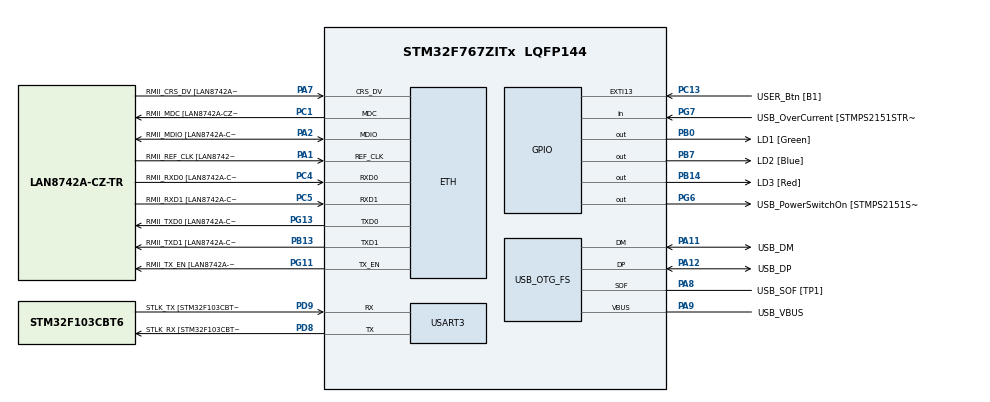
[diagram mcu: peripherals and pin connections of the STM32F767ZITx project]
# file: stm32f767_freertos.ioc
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ETH.MediaInterface=HAL_ETH_RMII_MODE
ETH.PHY_Name=LAN8742A_PHY_ADDRESS
ETH.PHY_Value=0
ETH.PhyAddress=0
Mcu.Family=STM32F7
Mcu.Name=STM32F767ZITx
Mcu.Package=LQFP144
NVIC.PriorityGroup=NVIC_PRIORITYGROUP_4
NVIC.TIM7_IRQn=true\:15\:0\:false\:false\:true\:false\:true\:true
NVIC.TimeBase=TIM7_IRQn
NVIC.TimeBaseIP=TIM7
PA1.GPIO_Label=RMII_REF_CLK [LAN8742A-CZ-TR_REFCLK0]
PA1.Mode=RMII
PA1.Signal=ETH_REF_CLK
PA10.GPIO_Label=USB_ID
PA10.Signal=USB_OTG_FS_ID
PA11.GPIO_Label=USB_DM
PA11.Mode=Device_Only
PA11.Signal=USB_OTG_FS_DM
PA12.GPIO_Label=USB_DP
PA12.Mode=Device_Only
PA12.Signal=USB_OTG_FS_DP
PA13.GPIO_Label=TMS
PA13.Mode=Serial_Wire
PA13.Signal=SYS_JTMS-SWDIO
PA14.GPIO_Label=TCK
PA14.Mode=Serial_Wire
PA14.Signal=SYS_JTCK-SWCLK
PA2.GPIO_Label=RMII_MDIO [LAN8742A-CZ-TR_MDIO]
PA2.Mode=RMII
PA2.Signal=ETH_MDIO
PA7.GPIO_Label=RMII_CRS_DV [LAN8742A-CZ-TR_CRS_DV]
PA7.Mode=RMII
PA7.Signal=ETH_CRS_DV
PA8.GPIO_Label=USB_SOF [TP1]
PA8.Mode=Activate_SOF_FS
PA8.Signal=USB_OTG_FS_SOF
PA9.GPIO_Label=USB_VBUS
PA9.Mode=Activate_VBUS
PA9.Signal=USB_OTG_FS_VBUS
PB0.GPIO_Label=LD1 [Green]
PB0.Signal=GPIO_Output
PB13.GPIO_Label=RMII_TXD1 [LAN8742A-CZ-TR_TXD1]
PB13.Mode=RMII
PB13.Signal=ETH_TXD1
PB14.GPIO_Label=LD3 [Red]
PB14.Signal=GPIO_Output
PB3.GPIO_Label=SWO
PB3.Signal=SYS_JTDO-SWO
PB7.GPIO_Label=LD2 [Blue]
PB7.Signal=GPIO_Output
PC1.GPIO_Label=RMII_MDC [LAN8742A-CZ-TR_MDC]
PC1.Mode=RMII
PC1.Signal=ETH_MDC
PC13.GPIO_Label=USER_Btn [B1]
PC13.Signal=GPXTI13
PC14/OSC32_IN.Mode=LSE-External-Oscillator
PC14/OSC32_IN.Signal=RCC_OSC32_IN
PC15/OSC32_OUT.Mode=LSE-External-Oscillator
PC15/OSC32_OUT.Signal=RCC_OSC32_OUT
PC4.GPIO_Label=RMII_RXD0 [LAN8742A-CZ-TR_RXD0]
PC4.Mode=RMII
PC4.Signal=ETH_RXD0
PC5.GPIO_Label=RMII_RXD1 [LAN8742A-CZ-TR_RXD1]
PC5.Mode=RMII
PC5.Signal=ETH_RXD1
PD5.Signal=USART2_TX
PD6.Signal=USART2_RX
PD8.GPIO_Label=STLK_RX [STM32F103CBT6_PA3]
PD8.Mode=Asynchronous
PD8.Signal=USART3_TX
PD9.GPIO_Label=STLK_TX [STM32F103CBT6_PA2]
PD9.Mode=Asynchronous
PD9.Signal=USART3_RX
PG11.GPIO_Label=RMII_TX_EN [LAN8742A-CZ-TR_TXEN]
PG11.Mode=RMII
PG11.Signal=ETH_TX_EN
PG13.GPIO_Label=RMII_TXD0 [LAN8742A-CZ-TR_TXD0]
PG13.Mode=RMII
PG13.Signal=ETH_TXD0
PG6.GPIO_Label=USB_PowerSwitchOn [STMPS2151STR_EN]
PG6.Signal=GPIO_Output
PG7.GPIO_Label=USB_OverCurrent [STMPS2151STR_FAULT]
PG7.Signal=GPIO_Input
PH0/OSC_IN.GPIO_Label=MCO [STM32F103CBT6_PA8]
PH0/OSC_IN.Mode=HSE-External-Clock-Source
PH0/OSC_IN.Signal=RCC_OSC_IN
PH1/OSC_OUT.Mode=HSE-External-Clock-Source
PH1/OSC_OUT.Signal=RCC_OSC_OUT
ProjectManager.HeapSize=0x200
ProjectManager.StackSize=0x400
ProjectManager.TargetToolchain=STM32CubeIDE
RCC.48MHZClocksFreq_Value=24000000
RCC.AHBFreq_Value=216000000
RCC.APB1CLKDivider=RCC_HCLK_DIV4
RCC.APB1Freq_Value=54000000
RCC.APB1TimFreq_Value=108000000
RCC.APB2CLKDivider=RCC_HCLK_DIV2
RCC.APB2Freq_Value=108000000
RCC.APB2TimFreq_Value=216000000
RCC.CortexFreq_Value=216000000
RCC.HCLKFreq_Value=216000000
RCC.HSE_VALUE=8000000
RCC.HSI_VALUE=16000000
RCC.PLLI2SN=432
RCC.PLLMUL=RCC_PLL_MUL9
RCC.PLLN=432
RCC.PLLQ=9
RCC.PLLSAIN=432
RCC.PLLSourceVirtualString=RCC_PLLSOURCE_HSI
RCC.PRESCALERUSB=RCC_USBCLKSOURCE_PLL_DIV1_5
RCC.SYSCLKFreq_VALUE=216000000
RCC.SYSCLKSource=RCC_SYSCLKSOURCE_PLLCLK
RCC.SYSCLKSourceVirtual=RCC_SYSCLKSOURCE_PLLCLK
RCC.USBFreq_Value=48000000
RCC.VCOOutputFreq_Value=432000000
USART3.VirtualMode-Asynchronous=VM_ASYNC
USB_OTG_FS.VirtualMode=Device_Only
VP_SYS_VS_tim7.Mode=TIM7
board=NUCLEO-F767ZI

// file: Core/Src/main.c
/* USER CODE BEGIN Header */
/**
  ******************************************************************************
  * @file           : main.c
  * @brief          : Main program body
  ******************************************************************************
  * @attention
  *
  * Copyright (c) 2025 STMicroelectronics.
  * All rights reserved.
  *
  * This software is licensed under terms that can be found in the LICENSE file
  * in the root directory of this software component.
  * If no LICENSE file comes with this software, it is provided AS-IS.
  *
  ******************************************************************************
  */
/* USER CODE END Header */
#include "main.h"
#include "string.h"

/* USER CODE BEGIN Includes */
/* Kernel includes. */
#include "FreeRTOS.h"
#include "task.h"
#include "button.h"

#include "lwip/tcpip.h"
#include "lwip/netif.h"
#include "ethernetif.h"
#include "app_ethernet.h"
#include "httpserver-netconn.h"
#include "lwiperf_example.h"

#include "sdio_sd.h"
#include "tm_stm32f7_fatfs.h"

#include "shell_port.h"
#include "usart.h"
#include "usb_app.h"
//#include "music_app.h"

/* USER CODE END Includes */

/* USER CODE BEGIN PD */
#define USE_TINYUSB
/* USER CODE END PD */

struct netif gnetif;
/* USER CODE END PV */

void SystemClock_Config(void);
static void MX_GPIO_Init(void);
//static void MX_ETH_Init(void);
static void MX_USART3_UART_Init(void);
/* USER CODE BEGIN PFP */
void MX_LED_Init(void);
//void LED_On(void);
//void LED_Reverse(void);
//void LED_Off(void);

void StartTransfers(void);
static void MPU_Config(void);
static void CPU_CACHE_Enable(void);

void lwipinitTask( void *pvParameters );
static void netif_config(void);
/* USER CODE END PFP */

int main(void)
{
  /* USER CODE BEGIN 1 */

  /* Configure the MPU attributes as Device memory for ETH DMA descriptors */
  MPU_Config();
  /* Enable the CPU Cache */
  CPU_CACHE_Enable();

  /* USER CODE END 1 */

  /* MCU Configuration--------------------------------------------------------*/

  /* Reset of all peripherals, Initializes the Flash interface and the Systick. */
  HAL_Init();

  /* Configure the system clock */
  SystemClock_Config();

  /* Initialize all configured peripherals */
  MX_GPIO_Init();
  MX_LED_Init();
  //MX_ETH_Init();
  MX_USART3_UART_Init();
  //MX_USB_OTG_FS_PCD_Init();
  /* USER CODE BEGIN 2 */
  //SD_Init();
  sd_card_fatfs_test();

#ifdef USE_LETTER_SHELL
  userShellInit();
#endif
#ifdef USE_TINYUSB
  usb_main();
#endif
  /* Start the task that executes on the M7 core. */
  xTaskCreate(prvButtonTask, 			/* Function that implements the task. */
              "ButtonTask", 			/* Task name, for debugging only. */
			  BUTTON_STK_SIZE,          /* Size of stack (in words) to allocate for this task. */
              NULL, 					/* Task parameter, not used in this case. */
			  BUTTON_TASK_PRIO, 		/* Task priority. */
              NULL );		            /* Task handle, used to unblock task from interrupt. */
  xTaskCreate(prvLedBreathTask, 		/* Function that implements the task. */
              "LedBreathTask", 			/* Task name, for debugging only. */
			  BUTTON_STK_SIZE,          /* Size of stack (in words) to allocate for this task. */
              NULL, 					/* Task parameter, not used in this case. */
			  BUTTON_TASK_PRIO, 		/* Task priority. */
              NULL );		            /* Task handle, used to unblock task from interrupt. */
#if 1
  xTaskCreate(lwipinitTask, 			/* Function that implements the task. */
              "lwipinitTask", 			/* Task name, for debugging only. */
			  configMINIMAL_STACK_SIZE * 5,    /* Size of stack (in words) to allocate for this task. */
              NULL, 					/* Task parameter, not used in this case. */
			  0, 	                    /* Task priority. */
			  NULL );		            /* Task handle, used to unblock task from interrupt. */
#endif
#ifndef USE_TINYUSB
  xTaskCreate(prvUSBappTask, 			/* Function that implements the task. */
              "USBappTask", 			/* Task name, for debugging only. */
			  configMINIMAL_STACK_SIZE * 5,    /* Size of stack (in words) to allocate for this task. */
              NULL, 					/* Task parameter, not used in this case. */
			  0, 		                /* Task priority. */
              NULL );		            /* Task handle, used to unblock task from interrupt. */
#endif
#if 0
  xTaskCreate(prvMusicappTask, 			/* Function that implements the task. */
              "MusicappTask", 			/* Task name, for debugging only. */
			  configMINIMAL_STACK_SIZE * 5,    /* Size of stack (in words) to allocate for this task. */
              NULL, 					/* Task parameter, not used in this case. */
			  0, 		                /* Task priority. */
              NULL );		            /* Task handle, used to unblock task from interrupt. */
#endif
  /* Start the scheduler. */
  vTaskStartScheduler();
  /* USER CODE END 2 */

  /* Infinite loop */
  while (1)
  {

  }
}

void SystemClock_Config(void)
{
  LL_FLASH_SetLatency(LL_FLASH_LATENCY_7); //flash访问延迟 周期比
  while(LL_FLASH_GetLatency()!= LL_FLASH_LATENCY_7)
  {
  }
  LL_PWR_SetRegulVoltageScaling(LL_PWR_REGU_VOLTAGE_SCALE1); //内部主调压器输出级别，使最大主频下功耗与性能平衡，当前为默认值(复位值)
  LL_PWR_EnableOverDriveMode();
  LL_RCC_HSI_SetCalibTrimming(16);
  LL_RCC_HSI_Enable();

   /* Wait till HSI is ready */
  while(LL_RCC_HSI_IsReady() != 1)
  {

  }
  LL_RCC_PLL_ConfigDomain_SYS(LL_RCC_PLLSOURCE_HSI, LL_RCC_PLLM_DIV_8, 216, LL_RCC_PLLP_DIV_2);
  LL_RCC_PLL_ConfigDomain_48M(LL_RCC_PLLSOURCE_HSI, LL_RCC_PLLM_DIV_8, 216, LL_RCC_PLLQ_DIV_9);
  LL_RCC_PLL_Enable();

   /* Wait till PLL is ready */
  while(LL_RCC_PLL_IsReady() != 1)
  {

  }
  while (LL_PWR_IsActiveFlag_VOS() == 0)
  {
  }
  LL_RCC_SetAHBPrescaler(LL_RCC_SYSCLK_DIV_1);
  LL_RCC_SetAPB1Prescaler(LL_RCC_APB1_DIV_4);
  LL_RCC_SetAPB2Prescaler(LL_RCC_APB2_DIV_2);
  LL_RCC_SetSysClkSource(LL_RCC_SYS_CLKSOURCE_PLL);

   /* Wait till System clock is ready */
  while(LL_RCC_GetSysClkSource() != LL_RCC_SYS_CLKSOURCE_STATUS_PLL)
  {

  }
  LL_SetSystemCoreClock(216000000);

   /* Update the time base */
  if (HAL_InitTick (TICK_INT_PRIORITY) != HAL_OK)
  {
    Error_Handler();
  }

   /* Set Timers Clock Prescalers */
  LL_RCC_SetTIMPrescaler(LL_RCC_TIM_PRESCALER_TWICE);
}

#if 0
static void MX_ETH_Init(void)
{

   static uint8_t MACAddr[6];

  heth.Instance = ETH;
  MACAddr[0] = 0x00;
  MACAddr[1] = 0x80;
  MACAddr[2] = 0xE1;
  MACAddr[3] = 0x00;
  MACAddr[4] = 0x00;
  MACAddr[5] = 0x00;
  heth.Init.MACAddr = &MACAddr[0];
  heth.Init.MediaInterface = HAL_ETH_RMII_MODE;
  heth.Init.TxDesc = DMATxDscrTab;
  heth.Init.RxDesc = DMARxDscrTab;
  heth.Init.RxBuffLen = 1524;

  if (HAL_ETH_Init(&heth) != HAL_OK)
  {
    Error_Handler();
  }

  memset(&TxConfig, 0 , sizeof(ETH_TxPacketConfig));
  TxConfig.Attributes = ETH_TX_PACKETS_FEATURES_CSUM | ETH_TX_PACKETS_FEATURES_CRCPAD;
  TxConfig.ChecksumCtrl = ETH_CHECKSUM_IPHDR_PAYLOAD_INSERT_PHDR_CALC;
  TxConfig.CRCPadCtrl = ETH_CRC_PAD_INSERT;
}
#endif
static void MX_USART3_UART_Init(void)
{

  LL_USART_InitTypeDef USART_InitStruct = {0};

  LL_GPIO_InitTypeDef GPIO_InitStruct = {0};

  LL_RCC_SetUSARTClockSource(LL_RCC_USART3_CLKSOURCE_PCLK1);

  /* Peripheral clock enable */
  LL_APB1_GRP1_EnableClock(LL_APB1_GRP1_PERIPH_USART3);

  LL_AHB1_GRP1_EnableClock(LL_AHB1_GRP1_PERIPH_GPIOD);
  /**USART3 GPIO Configuration
  PD8   ------> USART3_TX
  PD9   ------> USART3_RX
  */
  GPIO_InitStruct.Pin = STLK_RX_Pin;
  GPIO_InitStruct.Mode = LL_GPIO_MODE_ALTERNATE;
  GPIO_InitStruct.Speed = LL_GPIO_SPEED_FREQ_VERY_HIGH;
  GPIO_InitStruct.OutputType = LL_GPIO_OUTPUT_PUSHPULL;
  GPIO_InitStruct.Pull = LL_GPIO_PULL_NO;
  GPIO_InitStruct.Alternate = LL_GPIO_AF_7;
  LL_GPIO_Init(STLK_RX_GPIO_Port, &GPIO_InitStruct);

  GPIO_InitStruct.Pin = STLK_TX_Pin;
  GPIO_InitStruct.Mode = LL_GPIO_MODE_ALTERNATE;
  GPIO_InitStruct.Speed = LL_GPIO_SPEED_FREQ_VERY_HIGH;
  GPIO_InitStruct.OutputType = LL_GPIO_OUTPUT_PUSHPULL;
  GPIO_InitStruct.Pull = LL_GPIO_PULL_NO;
  GPIO_InitStruct.Alternate = LL_GPIO_AF_7;
  LL_GPIO_Init(STLK_TX_GPIO_Port, &GPIO_InitStruct);

  USART_InitStruct.BaudRate = 115200;
  USART_InitStruct.DataWidth = LL_USART_DATAWIDTH_8B;
  USART_InitStruct.StopBits = LL_USART_STOPBITS_1;
  USART_InitStruct.Parity = LL_USART_PARITY_NONE;
  USART_InitStruct.TransferDirection = LL_USART_DIRECTION_TX_RX;
  USART_InitStruct.HardwareFlowControl = LL_USART_HWCONTROL_NONE;
  USART_InitStruct.OverSampling = LL_USART_OVERSAMPLING_16;
  LL_USART_Init(USART3, &USART_InitStruct);
  LL_USART_ConfigAsyncMode(USART3);
  LL_USART_Enable(USART3);

}

static void MX_GPIO_Init(void)
{
  LL_EXTI_InitTypeDef EXTI_InitStruct = {0};
  LL_GPIO_InitTypeDef GPIO_InitStruct = {0};

  /* GPIO Ports Clock Enable */
  LL_AHB1_GRP1_EnableClock(LL_AHB1_GRP1_PERIPH_GPIOC);
  LL_AHB1_GRP1_EnableClock(LL_AHB1_GRP1_PERIPH_GPIOH);
  LL_AHB1_GRP1_EnableClock(LL_AHB1_GRP1_PERIPH_GPIOA);
  LL_AHB1_GRP1_EnableClock(LL_AHB1_GRP1_PERIPH_GPIOB);
  LL_AHB1_GRP1_EnableClock(LL_AHB1_GRP1_PERIPH_GPIOD);
  LL_AHB1_GRP1_EnableClock(LL_AHB1_GRP1_PERIPH_GPIOG);

  /**/
  LL_GPIO_ResetOutputPin(LD1_GPIO_Port, LD1_Pin);

  /**/
  LL_GPIO_ResetOutputPin(LD3_GPIO_Port, LD3_Pin);

  /**/
  LL_GPIO_ResetOutputPin(USB_PowerSwitchOn_GPIO_Port, USB_PowerSwitchOn_Pin);

  /**/
  LL_GPIO_ResetOutputPin(LD2_GPIO_Port, LD2_Pin);

  /**/
  LL_SYSCFG_SetEXTISource(LL_SYSCFG_EXTI_PORTC, LL_SYSCFG_EXTI_LINE13);

  /**/
  EXTI_InitStruct.Line_0_31 = LL_EXTI_LINE_13;
  EXTI_InitStruct.LineCommand = ENABLE;
  EXTI_InitStruct.Mode = LL_EXTI_MODE_IT;
  EXTI_InitStruct.Trigger = LL_EXTI_TRIGGER_RISING;
  LL_EXTI_Init(&EXTI_InitStruct);

  /**/
  LL_GPIO_SetPinPull(USER_Btn_GPIO_Port, USER_Btn_Pin, LL_GPIO_PULL_NO);

  /**/
  LL_GPIO_SetPinMode(USER_Btn_GPIO_Port, USER_Btn_Pin, LL_GPIO_MODE_INPUT);

  /**/
  GPIO_InitStruct.Pin = LD1_Pin;
  GPIO_InitStruct.Mode = LL_GPIO_MODE_OUTPUT;
  GPIO_InitStruct.Speed = LL_GPIO_SPEED_FREQ_LOW;
  GPIO_InitStruct.OutputType = LL_GPIO_OUTPUT_PUSHPULL;
  GPIO_InitStruct.Pull = LL_GPIO_PULL_NO;
  LL_GPIO_Init(LD1_GPIO_Port, &GPIO_InitStruct);

  /**/
  GPIO_InitStruct.Pin = LD3_Pin;
  GPIO_InitStruct.Mode = LL_GPIO_MODE_OUTPUT;
  GPIO_InitStruct.Speed = LL_GPIO_SPEED_FREQ_LOW;
  GPIO_InitStruct.OutputType = LL_GPIO_OUTPUT_PUSHPULL;
  GPIO_InitStruct.Pull = LL_GPIO_PULL_NO;
  LL_GPIO_Init(LD3_GPIO_Port, &GPIO_InitStruct);

  /**/
  GPIO_InitStruct.Pin = USB_PowerSwitchOn_Pin;
  GPIO_InitStruct.Mode = LL_GPIO_MODE_OUTPUT;
  GPIO_InitStruct.Speed = LL_GPIO_SPEED_FREQ_LOW;
  GPIO_InitStruct.OutputType = LL_GPIO_OUTPUT_PUSHPULL;
  GPIO_InitStruct.Pull = LL_GPIO_PULL_NO;
  LL_GPIO_Init(USB_PowerSwitchOn_GPIO_Port, &GPIO_InitStruct);

  /**/
  GPIO_InitStruct.Pin = USB_OverCurrent_Pin;
  GPIO_InitStruct.Mode = LL_GPIO_MODE_INPUT;
  GPIO_InitStruct.Pull = LL_GPIO_PULL_NO;
  LL_GPIO_Init(USB_OverCurrent_GPIO_Port, &GPIO_InitStruct);

  /**/
  GPIO_InitStruct.Pin = LL_GPIO_PIN_5;
  GPIO_InitStruct.Mode = LL_GPIO_MODE_ALTERNATE;
  GPIO_InitStruct.Speed = LL_GPIO_SPEED_FREQ_VERY_HIGH;
  GPIO_InitStruct.OutputType = LL_GPIO_OUTPUT_PUSHPULL;
  GPIO_InitStruct.Pull = LL_GPIO_PULL_NO;
  GPIO_InitStruct.Alternate = LL_GPIO_AF_7;
  LL_GPIO_Init(GPIOD, &GPIO_InitStruct);

  /**/
  GPIO_InitStruct.Pin = LL_GPIO_PIN_6;
  GPIO_InitStruct.Mode = LL_GPIO_MODE_ALTERNATE;
  GPIO_InitStruct.Speed = LL_GPIO_SPEED_FREQ_VERY_HIGH;
  GPIO_InitStruct.OutputType = LL_GPIO_OUTPUT_PUSHPULL;
  GPIO_InitStruct.Pull = LL_GPIO_PULL_NO;
  GPIO_InitStruct.Alternate = LL_GPIO_AF_7;
  LL_GPIO_Init(GPIOD, &GPIO_InitStruct);

  /**/
  GPIO_InitStruct.Pin = LD2_Pin;
  GPIO_InitStruct.Mode = LL_GPIO_MODE_OUTPUT;
  GPIO_InitStruct.Speed = LL_GPIO_SPEED_FREQ_LOW;
  GPIO_InitStruct.OutputType = LL_GPIO_OUTPUT_PUSHPULL;
  GPIO_InitStruct.Pull = LL_GPIO_PULL_NO;
  LL_GPIO_Init(LD2_GPIO_Port, &GPIO_InitStruct);

  /* USER CODE BEGIN MX_GPIO_Init_2 */
  LL_GPIO_SetOutputPin(LD2_GPIO_Port, LD2_Pin);
  /* USER CODE END MX_GPIO_Init_2 */
}

/* USER CODE BEGIN 4 */
void MX_LED_Init(void)
{
  /* Enable the LED1 Clock */
  LED1_GPIO_CLK_ENABLE();

  /* Configure IO in output push-pull mode to drive external LED1 */
  LL_GPIO_SetPinMode(LED1_GPIO_PORT, LED1_PIN, LL_GPIO_MODE_OUTPUT);
  /* Reset value is LL_GPIO_OUTPUT_PUSHPULL */
  //LL_GPIO_SetPinOutputType(LED1_GPIO_PORT, LED1_PIN, LL_GPIO_OUTPUT_PUSHPULL);
  /* Reset value is LL_GPIO_SPEED_FREQ_LOW */
  //LL_GPIO_SetPinSpeed(LED1_GPIO_PORT, LED1_PIN, LL_GPIO_SPEED_FREQ_LOW);
  /* Reset value is LL_GPIO_PULL_NO */
  //LL_GPIO_SetPinPull(LED1_GPIO_PORT, LED1_PIN, LL_GPIO_PULL_NO);
}
#if 0
void LED_On(void)
{
  /* Turn LED1 on */
  LL_GPIO_SetOutputPin(LED1_GPIO_PORT, LED1_PIN);
}
void LED_Off(void)
{
  /* Turn LED1 off */
  LL_GPIO_ResetOutputPin(LED1_GPIO_PORT, LED1_PIN);
}
void LED_Reverse(void)
{
  LL_GPIO_TogglePin(LED1_GPIO_PORT, LED1_PIN);
}
#endif

/* Callback **********************************************************/
void UserButton_Callback(void)
{
  /* Update User push-button variable : to be checked in waiting loop in main program */
  //ubButtonPress = 1;
  //LL_GPIO_TogglePin(LD2_GPIO_Port, LD2_Pin);
}

/**
  * @brief  Function called in case of error detected in USART IT Handler
  * @param  None
  * @retval None
  */
void USART_TransferError_Callback(void)
{
  /* Disable DMA1 Tx Channel */
  //LL_DMA_DisableStream(DMA1, LL_DMA_STREAM_3);

  /* Disable DMA1 Rx Channel */
  //LL_DMA_DisableStream(DMA1, LL_DMA_STREAM_1);

  /* Set LED1 to Blinking mode to indicate error occurs */
  //LED_Blinking(LED_BLINK_ERROR);
}

/*-----------------------------------------------------------*/

void vApplicationTickHook( void )
{

}

/*-----------------------------------------------------------*/

void vApplicationIdleHook( void )
{
	/* vApplicationIdleHook() will only be called if configUSE_IDLE_HOOK is set
	to 1 in FreeRTOSConfig.h.  It will be called on each iteration of the idle
	task.  It is essential that code added to this hook function never attempts
	to block in any way (for example, call xQueueReceive() with a block time
	specified, or call vTaskDelay()).  If the application makes use of the
	vTaskDelete() API function (as this demo application does) then it is also
	important that vApplicationIdleHook() is permitted to return to its calling
	function, because it is the responsibility of the idle task to clean up
	memory allocated by the kernel to any task that has since been deleted. */
}
/*-----------------------------------------------------------*/
#ifndef USE_TINYUSB
void vApplicationMallocFailedHook( void )
{
	/* vApplicationMallocFailedHook() will only be called if
	configUSE_MALLOC_FAILED_HOOK is set to 1 in FreeRTOSConfig.h.  It is a hook
	function that will get called if a call to pvPortMalloc() fails.
	pvPortMalloc() is called internally by the kernel whenever a task, queue,
	timer or semaphore is created.  It is also called by various parts of the
	demo application.  If heap_1.c or heap_2.c are used, then the size of the
	heap available to pvPortMalloc() is defined by configTOTAL_HEAP_SIZE in
	FreeRTOSConfig.h, and the xPortGetFreeHeapSize() API function can be used
	to query the size of free heap space that remains (although it does not
	provide information on how the remaining heap might be fragmented). */
	taskDISABLE_INTERRUPTS();
	for( ;; );
}
/*-----------------------------------------------------------*/
void vApplicationStackOverflowHook( TaskHandle_t pxTask, char *pcTaskName )
{
	( void ) pcTaskName;
	( void ) pxTask;

	/* Run time stack overflow checking is performed if
	configCHECK_FOR_STACK_OVERFLOW is defined to 1 or 2.  This hook
	function is called if a stack overflow is detected. */
	taskDISABLE_INTERRUPTS();
	for( ;; );
}
#endif
/*-----------------------------------------------------------*/
/**
  * @brief  Setup the network interface
  * @param  None
  * @retval None
  */
static void netif_config(void)
{
  ip_addr_t ipaddr;
  ip_addr_t netmask;
  ip_addr_t gw;

#if LWIP_DHCP
  ip_addr_set_zero_ip4(&ipaddr);
  ip_addr_set_zero_ip4(&netmask);
  ip_addr_set_zero_ip4(&gw);
#else
  /* IP address default setting */
  IP4_ADDR(&ipaddr, IP_ADDR0, IP_ADDR1, IP_ADDR2, IP_ADDR3);
  IP4_ADDR(&netmask, NETMASK_ADDR0, NETMASK_ADDR1 , NETMASK_ADDR2, NETMASK_ADDR3);
  IP4_ADDR(&gw, GW_ADDR0, GW_ADDR1, GW_ADDR2, GW_ADDR3);
#endif

  /* add the network interface */
  netif_add(&gnetif, &ipaddr, &netmask, &gw, NULL, &ethernetif_init, &tcpip_input);

  /*  Registers the default network interface */
  netif_set_default(&gnetif);

  netif_set_link_callback(&gnetif, ethernet_link_status_updated);
  ethernet_link_status_updated(&gnetif);

#if LWIP_NETIF_LINK_CALLBACK
  xTaskCreate(ethernet_link_thread, "EthLink", configMINIMAL_STACK_SIZE * 2, &gnetif, 0, NULL);
#endif

#if LWIP_DHCP
  /* Start DHCPClient */
  xTaskCreate(ethernet_dhcp_thread, "EthDHCP", configMINIMAL_STACK_SIZE * 2, &gnetif, 1, NULL);
#endif
}
void lwipinitTask( void *pvParameters )
{
  /* Create tcp_ip stack thread */
  tcpip_init(NULL, NULL);
  /* Initialize the LwIP stack  and io init*/
  netif_config();
  /* Initialize webserver demo */
  http_server_netconn_init();
  /* Initialize tpcserver demo 性能测试 */
  lwiperf_example_init();
  for (;;)
  {
    /* Delete the Init Thread */
    vTaskDelete(NULL);
  }
}

/**
  * @brief  Configure the MPU attributes .
  * @param  None
  * @retval None
  */
static void MPU_Config(void)
{
  MPU_Region_InitTypeDef MPU_InitStruct;

  /* Disable the MPU */
  HAL_MPU_Disable();

  /* Configure the MPU as Strongly ordered for not defined regions */
  MPU_InitStruct.Enable = MPU_REGION_ENABLE;
  MPU_InitStruct.BaseAddress = 0x00;
  MPU_InitStruct.Size = MPU_REGION_SIZE_4GB;
  MPU_InitStruct.AccessPermission = MPU_REGION_NO_ACCESS;
  MPU_InitStruct.IsBufferable = MPU_ACCESS_NOT_BUFFERABLE;
  MPU_InitStruct.IsCacheable = MPU_ACCESS_NOT_CACHEABLE;
  MPU_InitStruct.IsShareable = MPU_ACCESS_SHAREABLE;
  MPU_InitStruct.Number = MPU_REGION_NUMBER0;
  MPU_InitStruct.TypeExtField = MPU_TEX_LEVEL0;
  MPU_InitStruct.SubRegionDisable = 0x87;
  MPU_InitStruct.DisableExec = MPU_INSTRUCTION_ACCESS_DISABLE;

  HAL_MPU_ConfigRegion(&MPU_InitStruct);

  /* Configure the MPU as Normal Non Cacheable for Ethernet Buffers in the SRAM2 */
  MPU_InitStruct.Enable = MPU_REGION_ENABLE;
  MPU_InitStruct.BaseAddress = 0x20078000;
  MPU_InitStruct.Size = MPU_REGION_SIZE_16KB;
  MPU_InitStruct.AccessPermission = MPU_REGION_FULL_ACCESS;
  MPU_InitStruct.IsBufferable = MPU_ACCESS_NOT_BUFFERABLE;
  MPU_InitStruct.IsCacheable = MPU_ACCESS_NOT_CACHEABLE;
  MPU_InitStruct.IsShareable = MPU_ACCESS_NOT_SHAREABLE;
  MPU_InitStruct.Number = MPU_REGION_NUMBER1;
  MPU_InitStruct.TypeExtField = MPU_TEX_LEVEL1;
  MPU_InitStruct.SubRegionDisable = 0x00;
  MPU_InitStruct.DisableExec = MPU_INSTRUCTION_ACCESS_ENABLE;

  HAL_MPU_ConfigRegion(&MPU_InitStruct);

  /* Configure the MPU as Device for Ethernet Descriptors in the SRAM2 */
  MPU_InitStruct.Enable = MPU_REGION_ENABLE;
  MPU_InitStruct.BaseAddress = 0x2007C000;
  MPU_InitStruct.Size = MPU_REGION_SIZE_16KB; //MPU_REGION_SIZE_1KB
  MPU_InitStruct.AccessPermission = MPU_REGION_FULL_ACCESS;
  MPU_InitStruct.IsBufferable = MPU_ACCESS_BUFFERABLE;
  MPU_InitStruct.IsCacheable = MPU_ACCESS_NOT_CACHEABLE;
  MPU_InitStruct.IsShareable = MPU_ACCESS_SHAREABLE;
  MPU_InitStruct.Number = MPU_REGION_NUMBER2;
  MPU_InitStruct.TypeExtField = MPU_TEX_LEVEL0;
  MPU_InitStruct.SubRegionDisable = 0x00;
  MPU_InitStruct.DisableExec = MPU_INSTRUCTION_ACCESS_ENABLE;

  HAL_MPU_ConfigRegion(&MPU_InitStruct);

  /* Enable the MPU */
  HAL_MPU_Enable(MPU_PRIVILEGED_DEFAULT);
}

/**
  * @brief  CPU L1-Cache enable.
  * @param  None
  * @retval None
  */
static void CPU_CACHE_Enable(void)
{
  /* Enable I-Cache */
  SCB_EnableICache();

  /* Enable D-Cache */
  SCB_EnableDCache();
}
/* USER CODE END 4 */

void HAL_TIM_PeriodElapsedCallback(TIM_HandleTypeDef *htim)
{
  if (htim->Instance == TIM7)
  {
    HAL_IncTick();
  }
}

void Error_Handler(void)
{
  __disable_irq();
  while (1)
  {
  }
}
